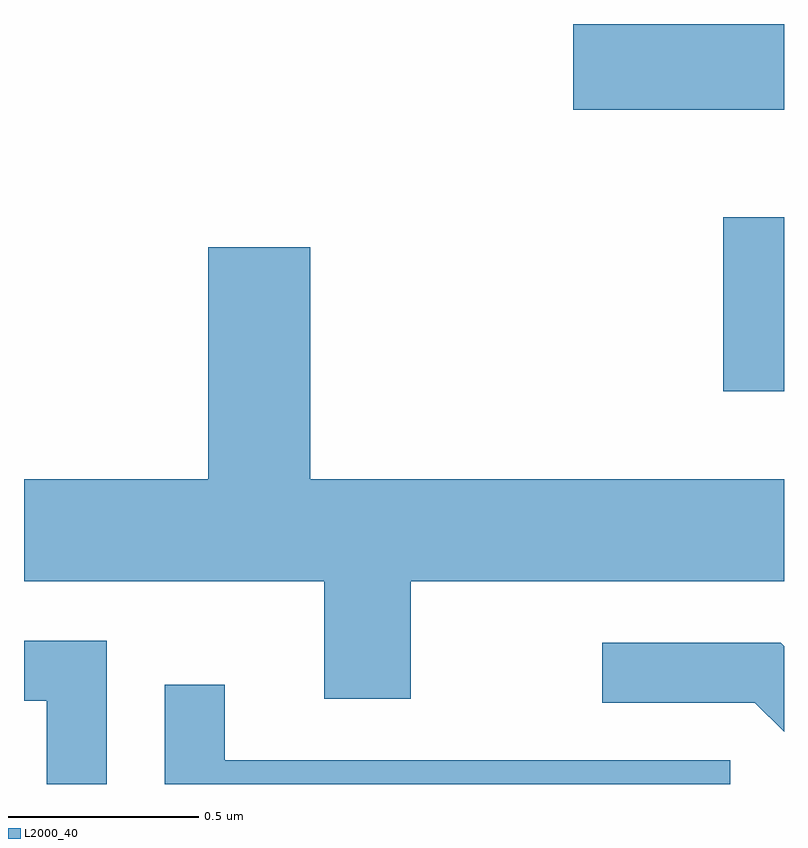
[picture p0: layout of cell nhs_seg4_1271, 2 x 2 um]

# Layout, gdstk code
import gdstk
lib = gdstk.Library(unit=1e-6, precision=1e-09)
def R(c, l, rs):  # rectangles x0, y0, x1, y1
    for r in rs: c.add(gdstk.rectangle(r[:2], r[2:], *l))
def P(c, l, *ps):  # polygons
    for p in ps: c.add(gdstk.Polygon(p, *l))
L2000_40 = (2000, 40)

nhs_seg4_1271 = lib.new_cell('nhs_seg4_1271')
R(nhs_seg4_1271, L2000_40, [(196.451,1293.016,196.611,1293.474), (196.056,1293.756,196.611,1293.982)])
P(nhs_seg4_1271, L2000_40, [(195.629,1292.516),(196.611,1292.516),(196.611,1292.784),(195.364,1292.784),(195.364,1293.394),(195.096,1293.394),(195.096,1292.784),(194.611,1292.784),(194.611,1292.516),(195.401,1292.516),(195.401,1292.206),(195.629,1292.206)],
  [(194.829,1292.359),(194.611,1292.359),(194.611,1292.201),(194.671,1292.201),(194.671,1291.982),(194.829,1291.982)],
  [(196.611,1292.345),(196.602,1292.354),(196.133,1292.354),(196.133,1292.196),(196.534,1292.196),(196.611,1292.119)],
  [(196.469,1292.044),(195.139,1292.044),(195.139,1292.243),(194.981,1292.243),(194.981,1291.982),(196.469,1291.982)])

lib.write_gds('nhs_seg4_1271.gds')
